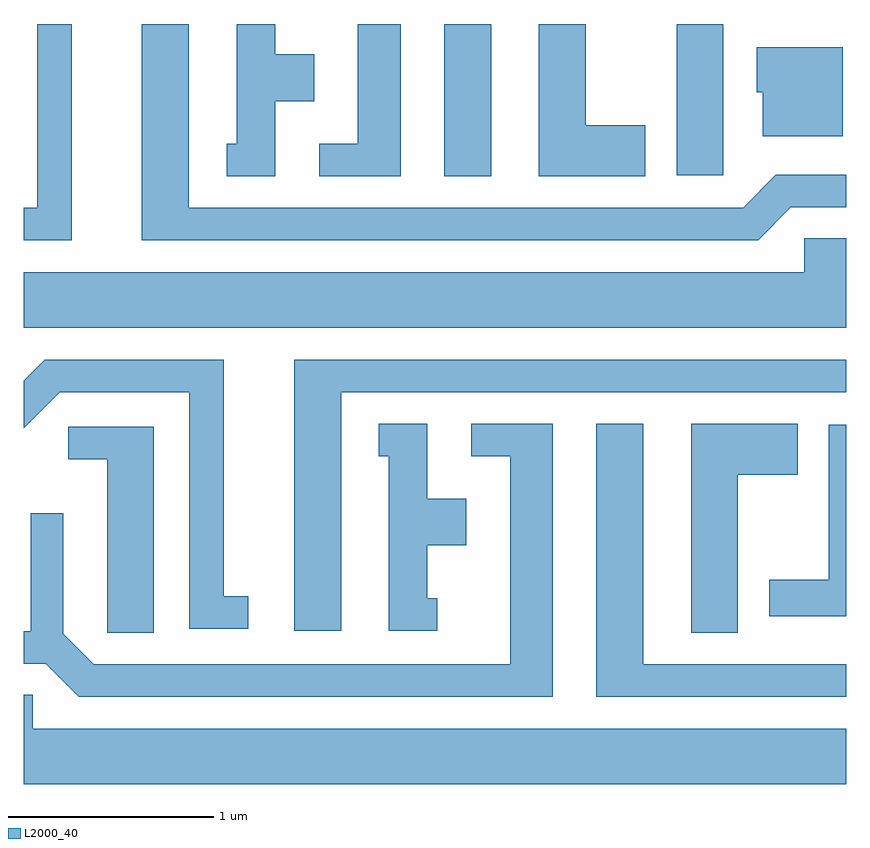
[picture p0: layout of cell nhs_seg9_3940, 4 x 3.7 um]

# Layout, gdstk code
import gdstk
lib = gdstk.Library(unit=1e-6, precision=1e-09)
def R(c, l, rs):  # rectangles x0, y0, x1, y1
    for r in rs: c.add(gdstk.rectangle(r[:2], r[2:], *l))
def P(c, l, *ps):  # polygons
    for p in ps: c.add(gdstk.Polygon(p, *l))
L2000_40 = (2000, 40)

nhs_seg9_3940 = lib.new_cell('nhs_seg9_3940')
R(nhs_seg9_3940, L2000_40, [(303.656,1963.691,303.884,1964.432), (304.786,1963.696,305.014,1964.432)])
P(nhs_seg9_3940, L2000_40, [(302.834,1964.056),(303.024,1964.056),(303.024,1964.284),(302.834,1964.284),(302.834,1964.432),(302.646,1964.432),(302.646,1963.849),(302.598,1963.849),(302.598,1963.691),(302.834,1963.691)],
  [(304.634,1963.939),(304.344,1963.939),(304.344,1964.432),(304.116,1964.432),(304.116,1963.691),(304.634,1963.691)],
  [(305.342,1963.541),(305.611,1963.541),(305.611,1963.699),(305.269,1963.699),(305.109,1963.539),(302.414,1963.539),(302.414,1964.432),(302.186,1964.432),(302.186,1963.381),(305.182,1963.381)],
  [(301.844,1964.432),(301.676,1964.432),(301.676,1963.539),(301.611,1963.539),(301.611,1963.381),(301.844,1963.381)],
  [(303.444,1964.432),(303.236,1964.432),(303.236,1963.849),(303.048,1963.849),(303.048,1963.691),(303.444,1963.691)],
  [(305.594,1964.319),(305.176,1964.319),(305.176,1964.101),(305.206,1964.101),(305.206,1963.886),(305.594,1963.886)],
  [(305.611,1963.389),(305.406,1963.389),(305.406,1963.224),(301.611,1963.224),(301.611,1962.956),(305.611,1962.956)],
  [(303.154,1962.641),(305.611,1962.641),(305.611,1962.799),(302.926,1962.799),(302.926,1961.481),(303.154,1961.481)],
  [(302.703,1961.649),(302.584,1961.649),(302.584,1962.799),(301.714,1962.799),(301.611,1962.696),(301.611,1962.465),(301.787,1962.641),(302.416,1962.641),(302.416,1961.491),(302.703,1961.491)],
  [(303.623,1961.639),(303.574,1961.639),(303.574,1961.896),(303.764,1961.896),(303.764,1962.124),(303.574,1962.124),(303.574,1962.489),(303.338,1962.489),(303.338,1962.331),(303.386,1962.331),(303.386,1961.481),(303.623,1961.481)],
  [(305.611,1961.319),(304.624,1961.319),(304.624,1962.489),(304.396,1962.489),(304.396,1961.161),(305.611,1961.161)],
  [(305.084,1962.241),(305.374,1962.241),(305.374,1962.489),(304.856,1962.489),(304.856,1961.471),(305.084,1961.471)],
  [(304.184,1962.489),(303.788,1962.489),(303.788,1962.331),(303.976,1962.331),(303.976,1961.319),(301.952,1961.319),(301.804,1961.467),(301.804,1962.053),(301.646,1962.053),(301.646,1961.479),(301.611,1961.479),(301.611,1961.321),(301.719,1961.321),(301.879,1961.161),(304.184,1961.161)],
  [(305.611,1962.484),(305.526,1962.484),(305.526,1961.729),(305.236,1961.729),(305.236,1961.551),(305.611,1961.551)],
  [(302.244,1962.474),(301.828,1962.474),(301.828,1962.316),(302.016,1962.316),(302.016,1961.471),(302.244,1961.471)],
  [(305.611,1961.004),(301.654,1961.004),(301.654,1961.169),(301.611,1961.169),(301.611,1960.736),(305.611,1960.736)])

lib.write_gds('nhs_seg9_3940.gds')
